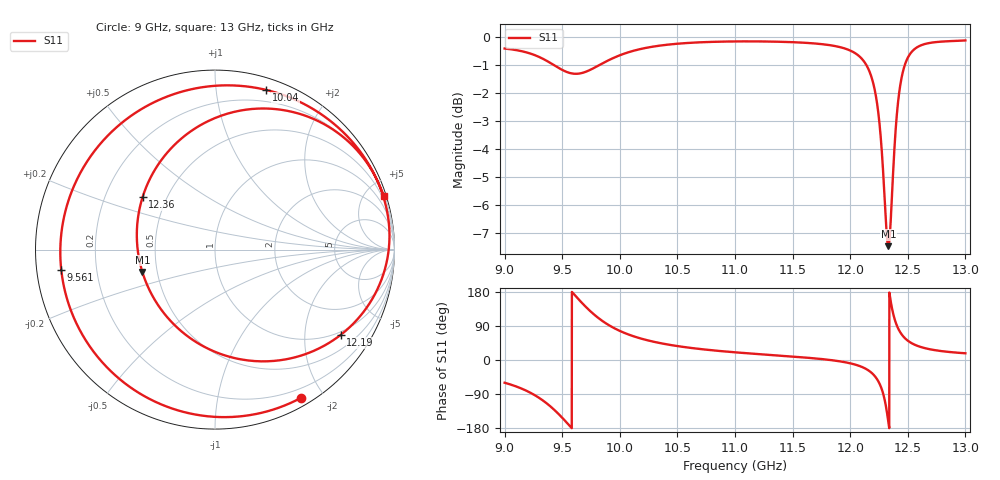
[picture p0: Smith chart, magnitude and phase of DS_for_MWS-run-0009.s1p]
! TOUCHSTONE file generated by CST DESIGN STUDIO
! Date and time: Tue Feb  4 16:29:46 2025
! Project name: C:\Work\MatlabApps\UnitCellOptimizationMatlab\CST\unitcell.cst
! Tree item: Tasks\Sweep1\SPara1\S-Parameters
! Header version: 2024
! Port assignment regex: !\s*Touchstone port\s*([0-9]+)\s*=\s*(CST MWS port|CST DES external port|CST DES block port)\s*(.+)\s* \(\"(.*)\"\)(\s*mode\s*([0-9]+))?.*
! Touchstone port assignment:
! Touchstone port 1 = CST DES external port 1 ("")
# GHz S MA R 50
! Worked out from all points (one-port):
!   4001 points, 9 GHz to 13 GHz, reference 50 ohm
!   lowest |S11| = -7.5 dB at 12.33 GHz (marker M1), VSWR 2.47, Z = 20.6 - j6.27 ohm
!   |S11| at or under -10 dB: nowhere
!   S11 on the Smith chart (normalised r, x): 9 GHz: 0.09, -1.73; 9.561 GHz: 0.07, -0.07; 10.04 GHz: 0.10, +1.37; 12.19 GHz: 0.90, -3.01; 12.36 GHz: 0.37, +0.28; 13 GHz: 0.27, +6.40
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9  0.9548 -60.0
9.156  0.9436 -76.6
9.306  0.921 -101.3
9.405  0.8979 -124.4
9.5  0.8745 -152.3
9.561  0.864 -172.5
9.653  0.8617 156.6
9.77  0.8802 121.8
9.872  0.9032 98.2
10  0.9286 76.8
10.035  0.9344 72.1
10.237  0.9582 52.2
10.5  0.9738 36.7
11  0.9831 20.3
11.5  0.9801 9.1
12  0.947 -8.7
12.113  0.9093 -19.8
12.187  0.8462 -34.2
12.234  0.76 -51.0
12.276  0.6188 -78.8
12.303  0.4973 -110.5
12.331  0.4235 -162.9
12.358  0.4983 144.1
12.385  0.6382 108.5
12.413  0.7576 85.3
12.5  0.9193 51.0
12.658  0.9739 30.6
13  0.987 17.7
